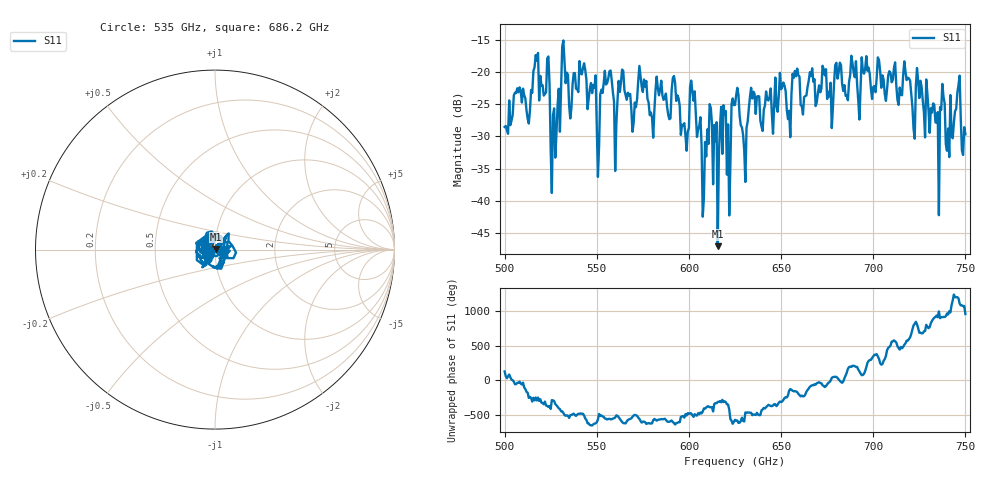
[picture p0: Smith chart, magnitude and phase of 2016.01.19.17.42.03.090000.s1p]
!Created with skrf (http://scikit-rf.org).
# GHz S RI R 50.0
!freq ReS11 ImS11
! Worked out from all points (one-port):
!   401 points, 500 GHz to 750 GHz, reference 50 ohm
!   lowest |S11| = -47.0 dB at 615.6 GHz (marker M1), VSWR 1.01, Z = 50.3 + j0.323 ohm
!   |S11| at or under -10 dB: start of sweep to end of sweep
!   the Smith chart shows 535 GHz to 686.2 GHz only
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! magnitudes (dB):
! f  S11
! 500 GHz  -28.5
! 513.1 GHz  -28.0
! 516.9 GHz  -17.4
! 523.1 GHz  -17.9
! 526.2 GHz  -26.7
! 531.2 GHz  -16.1
! 543.1 GHz  -18.6
! 551.2 GHz  -31.6
! 553.1 GHz  -23.3
! 560 GHz  -35.4
! 562.5 GHz  -23.1
! 593.8 GHz  -23.6
! 598.8 GHz  -32.2
! 601.9 GHz  -23.1
! 608.1 GHz  -39.5
! 611.2 GHz  -25.0
! 615.6 GHz  -47.0
! 618.8 GHz  -25.2
! 621.9 GHz  -42.3
! 625 GHz  -25.1
! 630 GHz  -32.2
! 634.4 GHz  -24.1
! 656.2 GHz  -20.3
! 687.5 GHz  -20.5
! 718.8 GHz  -20.9
! 735 GHz  -26.2
! 745.6 GHz  -23.2
! 750 GHz  -29.7
